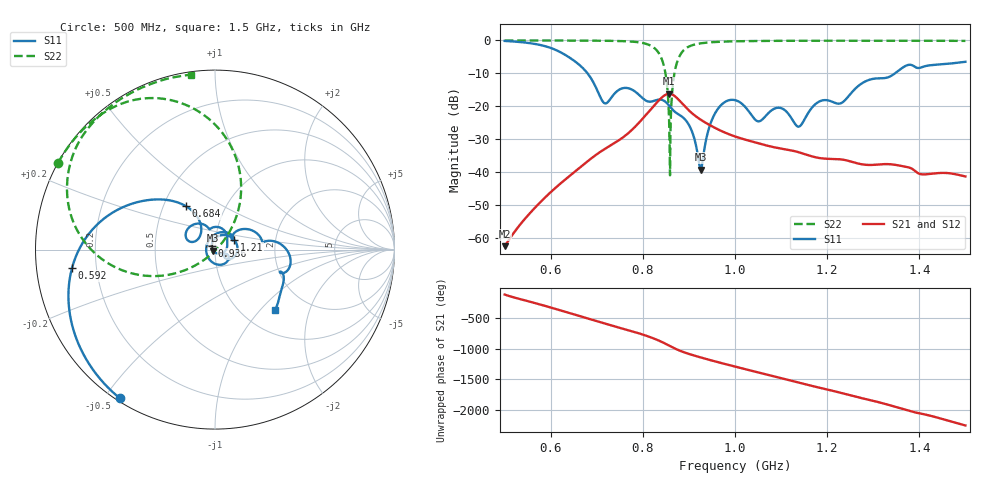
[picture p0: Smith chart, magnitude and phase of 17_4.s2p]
! TOUCHSTONE file generated by CST MICROWAVE STUDIO
! Date and time: Fri Oct  2 16:56:34 2020
! Project name: Scenario_1_Free_Space_out_of_line.cst
! Parameters = {Lambda=346.42; Step_1=17.321; dy1=70.184; dx1=693; L_HA=400; MT=2.54; Rad_Dielectric=30; Rad_Lower=7.3; Rad_Upper=30; a_HA=580; a_WG=246; b_HA=500; b_WG=121; c_HA=0; c_WG=187; d_feed=85; h_feed=15; h_lower=18; h_upper=40}
! Header version: 2018
! Port assignment regex: !\s*Touchstone port\s*([0-9]+)\s*=\s*(CST MWS port|CST DS port)\s*([0-9]+|Zmin|Zmax)\s*\(\"(.*)\"\)(\s*mode\s*([0-9]+))?.*
! Touchstone port assignment:
! Touchstone port 1 = CST MWS port 1 ("")
! Touchstone port 2 = CST MWS port 2 ("")
# GHz S DB R 50
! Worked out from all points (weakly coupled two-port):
!   1003 points, 500 MHz to 1.5 GHz, reference 50 ohm
!   highest |S21| = -16.19 dB at 857 MHz (marker M1); lowest = -62.4 dB at 500 MHz (marker M2)
!   lowest |S11| = -39.2 dB at 926 MHz (marker M3), VSWR 1.02, Z = 49.1 - j0.558 ohm
!   |S11| at or under -10 dB: 680 MHz to 1.347 GHz (667 MHz wide, 65.8 % of centre)
!   |S22| runs from -40.9 to 0.0 dB; largest |S21 - S12| = 1.9e-05
!   S11 on the Smith chart (normalised r, x): 500 MHz: 0.01, -0.55; 592 MHz: 0.11, -0.06; 684 MHz: 0.65, +0.34; 936 MHz: 0.96, +0.04; 1.21 GHz: 1.23, +0.14; 1.5 GHz: 1.39, -1.21
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0.5  -0.15 -122.6  -62.43 -117.6  -62.43 -117.6  -0.01 151.1
0.592  -1.91 -172.7  -47.09 48.7  -47.09 48.7  -0.02 144.7
0.667  -8.01 135.6  -38.15 -115.7  -38.15 -115.7  -0.04 138.3
0.684  -10.75 123.7  -36.24 -153.5  -36.24 -153.5  -0.06 136.6
0.717  -19.07 140.7  -32.97 131.7  -32.97 131.7  -0.10 132.6
0.761  -14.40 143.7  -28.99 37.0  -28.99 37.0  -0.24 125.1
0.834  -17.95 88.7  -18.28 -145.4  -18.28 -145.4  -3.71 86.5
0.848  -18.50 64.5  -16.60 165.6  -16.60 165.6  -9.20 65.3
0.857  -19.77 49.5  -16.19 131.1  -16.19 131.1  -24.34 44.6
0.879  -22.56 23.3  -18.18 51.9  -18.18 51.9  -4.93 -170.2
0.904  -26.73 -24.3  -21.76 -14.5  -21.76 -14.5  -1.61 166.0
0.926  -39.18 -148.9  -24.09 -63.1  -24.09 -63.1  -0.88 155.7
0.936  -30.99 129.9  -24.96 -84.2  -24.96 -84.2  -0.71 152.5
0.962  -20.93 64.2  -26.92 -137.3  -26.92 -137.3  -0.44 146.4
1  -18.11 -4.0  -29.14 149.1  -29.14 149.1  -0.26 140.2
1.048  -24.46 -32.4  -31.11 58.0  -31.11 58.1  -0.17 134.6
1.097  -20.44 -53.3  -32.74 -33.5  -32.74 -33.6  -0.12 129.9
1.137  -26.16 -176.2  -33.88 -110.9  -33.88 -110.9  -0.11 126.6
1.167  -20.40 78.0  -35.18 -166.3  -35.18 -166.3  -0.09 124.2
1.21  -18.54 27.4  -35.94 118.1  -35.94 118.1  -0.09 120.8
1.334  -11.09 9.1  -37.54 -116.6  -37.54 -116.6  -0.09 111.4
1.5  -6.48 -45.2  -41.27 -90.2  -41.25 -90.1  -0.14 97.9
